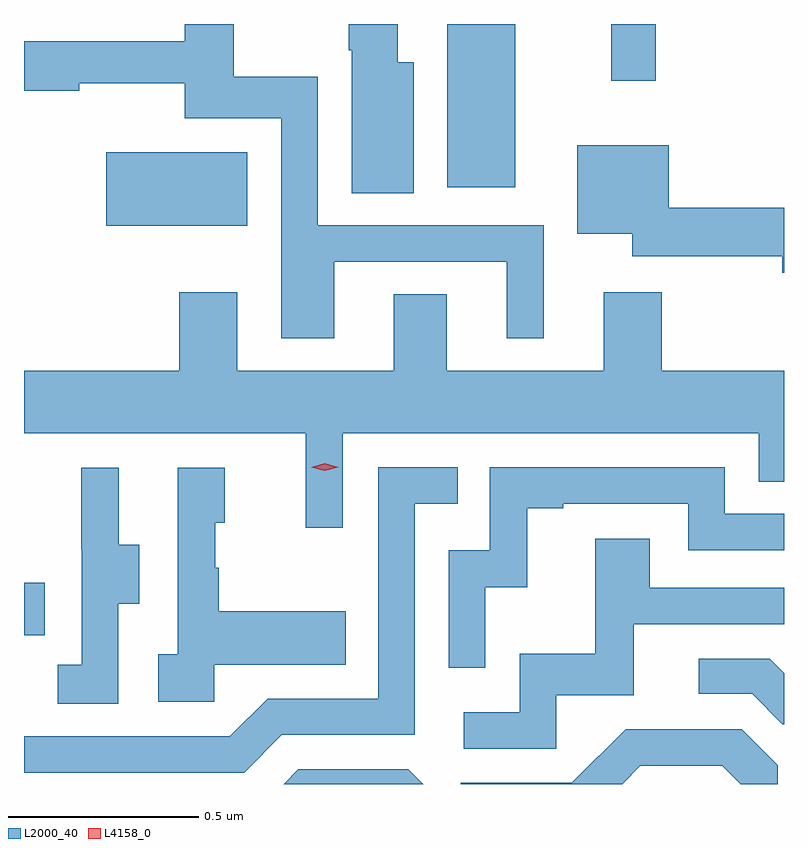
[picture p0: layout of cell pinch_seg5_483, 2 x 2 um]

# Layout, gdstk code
import gdstk
lib = gdstk.Library(unit=1e-6, precision=1e-09)
def R(c, l, rs):  # rectangles x0, y0, x1, y1
    for r in rs: c.add(gdstk.rectangle(r[:2], r[2:], *l))
def P(c, l, *ps):  # polygons
    for p in ps: c.add(gdstk.Polygon(p, *l))
L2000_40 = (2000, 40)
L4158_0 = (4158, 0)

pinch_seg5_483 = lib.new_cell('pinch_seg5_483')
R(pinch_seg5_483, L2000_40, [(935.686,837.581,935.741,837.718), (935.903,838.658,936.274,838.852), (936.8,838.76,936.979,839.189), (937.231,839.04,937.349,839.189)])
P(pinch_seg5_483, L2000_40, [(936.502,838.563),(936.956,838.563),(936.956,838.362),(937.054,838.362),(937.054,838.659),(936.459,838.659),(936.459,839.05),(936.238,839.05),(936.238,839.189),(936.109,839.189),(936.109,839.143),(935.686,839.143),(935.686,839.014),(935.832,839.014),(935.832,839.033),(936.109,839.033),(936.109,838.941),(936.363,838.941),(936.363,838.362),(936.502,838.362)],
  [(936.712,839.089),(936.67,839.089),(936.67,839.189),(936.541,839.189),(936.541,839.12),(936.548,839.12),(936.548,838.744),(936.712,838.744)],
  [(937.686,838.706),(937.383,838.706),(937.383,838.87),(937.142,838.87),(937.142,838.637),(937.287,838.637),(937.287,838.578),(937.682,838.578),(937.682,838.535),(937.686,838.535)],
  [(937.364,838.483),(937.211,838.483),(937.211,838.276),(936.799,838.276),(936.799,838.478),(936.659,838.478),(936.659,838.276),(936.247,838.276),(936.247,838.483),(936.095,838.483),(936.095,838.276),(935.686,838.276),(935.686,838.112),(936.428,838.112),(936.428,837.864),(936.525,837.864),(936.525,838.112),(937.62,838.112),(937.62,837.985),(937.686,837.985),(937.686,838.276),(937.364,838.276)],
  [(936.364,837.318),(936.714,837.318),(936.714,837.927),(936.827,837.927),(936.827,838.023),(936.618,838.023),(936.618,837.414),(936.327,837.414),(936.228,837.315),(935.686,837.315),(935.686,837.219),(936.265,837.219)],
  [(936.9,837.707),(937.01,837.707),(937.01,837.915),(937.105,837.915),(937.105,837.927),(937.434,837.927),(937.434,837.804),(937.686,837.804),(937.686,837.9),(937.53,837.9),(937.53,838.023),(936.912,838.023),(936.912,837.804),(936.804,837.804),(936.804,837.495),(936.9,837.495)],
  [(935.934,837.664),(935.989,837.664),(935.989,837.819),(935.935,837.819),(935.935,838.021),(935.837,838.021),(935.837,837.807),(935.838,837.807),(935.838,837.503),(935.775,837.503),(935.775,837.4),(935.934,837.4)],
  [(936.186,837.503),(936.533,837.503),(936.533,837.643),(936.199,837.643),(936.199,837.758),(936.189,837.758),(936.189,837.876),(936.214,837.876),(936.214,838.021),(936.09,838.021),(936.09,837.53),(936.039,837.53),(936.039,837.405),(936.186,837.405)],
  [(937.086,837.423),(937.291,837.423),(937.291,837.609),(937.686,837.609),(937.686,837.705),(937.333,837.705),(937.333,837.835),(937.189,837.835),(937.189,837.532),(936.99,837.532),(936.99,837.378),(936.843,837.378),(936.843,837.282),(937.086,837.282)],
  [(937.686,837.481),(937.648,837.519),(937.461,837.519),(937.461,837.426),(937.602,837.426),(937.682,837.346),(937.686,837.346)],
  [(937.308,837.237),(937.524,837.237),(937.572,837.189),(937.669,837.189),(937.669,837.239),(937.575,837.333),(937.269,837.333),(937.128,837.192),(936.835,837.192),(936.835,837.189),(937.26,837.189)],
  [(936.408,837.228),(936.369,837.189),(936.736,837.189),(936.697,837.228)])
P(pinch_seg5_483, L4158_0, [(936.478,838.013),(936.442,838.022),(936.442,838.023),(936.442,838.023),(936.478,838.033),(936.513,838.023),(936.514,838.023),(936.513,838.022)])

lib.write_gds('pinch_seg5_483.gds')
